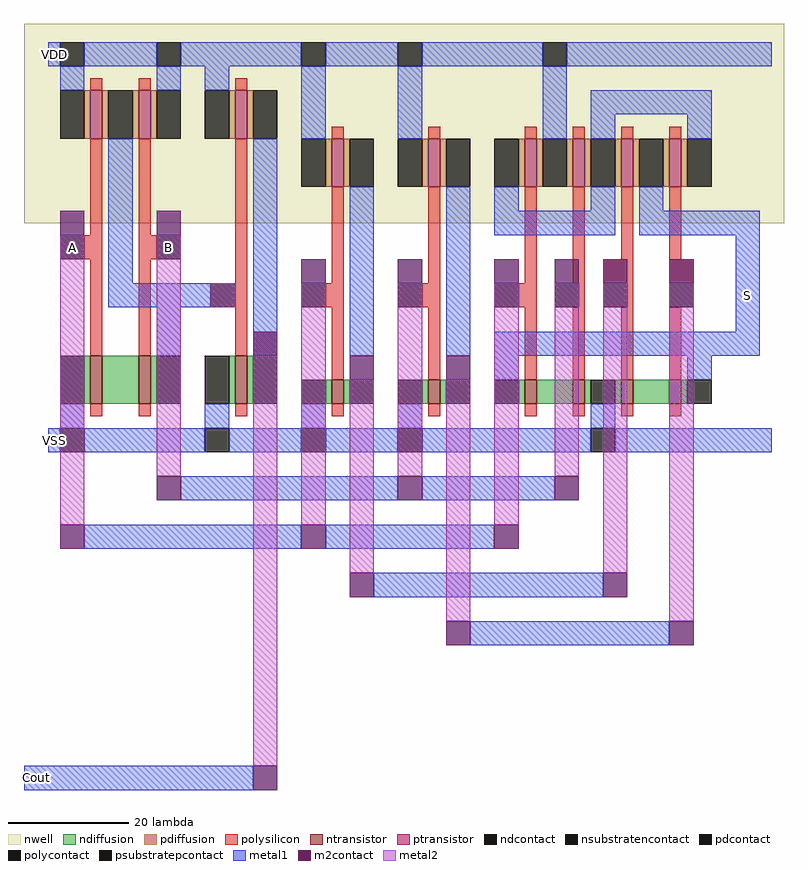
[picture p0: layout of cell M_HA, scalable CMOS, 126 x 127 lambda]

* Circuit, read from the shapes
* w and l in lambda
.subckt M_HA A B Cout S VDD VSS
M1 n1 A VSS VSS nfet w=8 l=2
M2 n2 B n1 VSS nfet w=8 l=2
M3 Cout n2 VSS VSS nfet w=8 l=2
M4 n3 A VSS VSS nfet w=4 l=2
M5 n4 B VSS VSS nfet w=4 l=2
M6 n5 A S VSS nfet w=4 l=2
M7 VSS B n5 VSS nfet w=4 l=2
M8 n6 n3 VSS VSS nfet w=4 l=2
M9 S n4 n6 VSS nfet w=4 l=2
M10 n2 A VDD VDD pfet w=8 l=2
M11 VDD B n2 VDD pfet w=8 l=2
M12 Cout n2 VDD VDD pfet w=8 l=2
M13 n3 A VDD VDD pfet w=8 l=2
M14 n4 B VDD VDD pfet w=8 l=2
M15 VDD A n7 VDD pfet w=8 l=2
M16 n7 B VDD VDD pfet w=8 l=2
M17 S n3 n7 VDD pfet w=8 l=2
M18 n7 n4 S VDD pfet w=8 l=2
.ends

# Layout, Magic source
magic
tech scmos
<< polycontact >>
rect 2 32 6 36
rect 18 32 22 36
<< metal1 >>
rect 0 64 2 68
rect 114 24 118 28
rect 0 0 2 4
rect -4 -56 34 -52
<< m2contact >>
rect 34 16 38 20
rect 34 -56 38 -52
<< metal2 >>
rect 2 32 6 36
rect 18 32 22 36
rect 34 -52 38 16
use HA  HA_0
transform 1 0 0 0 1 0
box -4 -32 122 71
<< labels >>
rlabel metal2 4 34 4 34 1 A
rlabel metal2 20 34 20 34 1 B
rlabel metal1 1 66 1 66 4 VDD
rlabel metal1 1 2 1 2 3 VSS
rlabel metal1 -2 -54 -2 -54 1 Cout
rlabel metal1 116 26 116 26 1 S
<< end >>

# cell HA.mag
magic
tech scmos
<< nwell >>
rect -4 38 36 71
<< ntransistor >>
rect 7 8 9 16
rect 15 8 17 16
rect 31 8 33 16
<< ptransistor >>
rect 7 52 9 60
rect 15 52 17 60
rect 31 52 33 60
<< ndiffusion >>
rect 6 8 7 16
rect 9 8 15 16
rect 17 8 18 16
rect 30 8 31 16
rect 33 8 34 16
<< pdiffusion >>
rect 6 52 7 60
rect 9 52 10 60
rect 14 52 15 60
rect 17 52 18 60
rect 30 52 31 60
rect 33 52 34 60
<< ndcontact >>
rect 2 8 6 16
rect 18 8 22 16
rect 26 8 30 16
rect 34 8 38 16
<< pdcontact >>
rect 2 52 6 60
rect 10 52 14 60
rect 18 52 22 60
rect 26 52 30 60
rect 34 52 38 60
<< psubstratepcontact >>
rect 2 0 6 4
rect 26 0 30 4
<< nsubstratencontact >>
rect 2 64 6 68
rect 18 64 22 68
<< polysilicon >>
rect 7 60 9 62
rect 15 60 17 62
rect 31 60 33 62
rect 7 36 9 52
rect 6 32 9 36
rect 7 16 9 32
rect 15 36 17 52
rect 15 32 18 36
rect 15 16 17 32
rect 31 16 33 52
rect 7 6 9 8
rect 15 6 17 8
rect 31 6 33 8
<< polycontact >>
rect 2 32 6 36
rect 18 32 22 36
rect 27 24 31 28
<< metal1 >>
rect 0 64 2 68
rect 6 64 18 68
rect 22 64 42 68
rect 2 60 6 64
rect 18 60 22 64
rect 26 60 30 64
rect 10 28 14 52
rect 10 24 27 28
rect 18 16 22 24
rect 34 16 38 52
rect 114 24 118 28
rect 2 4 6 8
rect 26 4 30 8
rect 0 0 2 4
rect 6 0 26 4
rect 30 0 41 4
rect 22 -8 58 -4
rect 6 -16 42 -12
<< m2contact >>
rect 2 36 6 40
rect 18 36 22 40
rect 18 -8 22 -4
rect 2 -16 6 -12
<< metal2 >>
rect 2 -12 6 36
rect 18 -4 22 36
rect 27 24 31 28
use XOR2  XOR2_0
transform 1 0 72 0 1 0
box -36 -32 50 71
<< labels >>
rlabel nsubstratencontact 4 66 4 66 1 VDD
rlabel nsubstratencontact 20 66 20 66 1 VDD
rlabel psubstratepcontact 4 2 4 2 1 VSS
rlabel psubstratepcontact 28 2 28 2 1 VSS
rlabel polycontact 20 34 20 34 1 B
rlabel polycontact 4 34 4 34 1 A
rlabel metal1 36 26 36 26 1 Co
rlabel metal1 116 26 116 26 1 S
<< end >>

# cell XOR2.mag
magic
tech scmos
<< nwell >>
rect -36 38 50 71
<< ntransistor >>
rect -25 8 -23 12
rect -9 8 -7 12
rect 7 8 9 12
rect 15 8 17 12
rect 23 8 25 12
rect 31 8 33 12
<< ptransistor >>
rect -25 44 -23 52
rect -9 44 -7 52
rect 7 44 9 52
rect 15 44 17 52
rect 23 44 25 52
rect 31 44 33 52
<< ndiffusion >>
rect -26 8 -25 12
rect -23 8 -22 12
rect -10 8 -9 12
rect -7 8 -6 12
rect 6 8 7 12
rect 9 8 15 12
rect 17 8 18 12
rect 22 8 23 12
rect 25 8 31 12
rect 33 8 34 12
<< pdiffusion >>
rect -26 44 -25 52
rect -23 44 -22 52
rect -10 44 -9 52
rect -7 44 -6 52
rect 6 44 7 52
rect 9 44 10 52
rect 14 44 15 52
rect 17 44 18 52
rect 22 44 23 52
rect 25 44 26 52
rect 30 44 31 52
rect 33 44 34 52
<< ndcontact >>
rect -30 8 -26 12
rect -22 8 -18 12
rect -14 8 -10 12
rect -6 8 -2 12
rect 2 8 6 12
rect 18 8 22 12
rect 34 8 38 12
<< pdcontact >>
rect -30 44 -26 52
rect -22 44 -18 52
rect -14 44 -10 52
rect -6 44 -2 52
rect 2 44 6 52
rect 10 44 14 52
rect 18 44 22 52
rect 26 44 30 52
rect 34 44 38 52
<< psubstratepcontact >>
rect -30 0 -26 4
rect -14 0 -10 4
rect 18 0 22 4
<< nsubstratencontact >>
rect -30 64 -26 68
rect -14 64 -10 68
rect 10 64 14 68
<< polysilicon >>
rect -25 52 -23 54
rect -9 52 -7 54
rect 7 52 9 54
rect 15 52 17 54
rect 23 52 25 54
rect 31 52 33 54
rect -25 28 -23 44
rect -9 28 -7 44
rect 7 28 9 44
rect 15 28 17 44
rect 23 32 25 44
rect -26 24 -23 28
rect -10 24 -7 28
rect 6 24 9 28
rect 16 24 17 28
rect 20 28 25 32
rect 24 24 25 28
rect -25 12 -23 24
rect -9 12 -7 24
rect 7 12 9 24
rect 15 12 17 24
rect 23 12 25 24
rect 31 32 33 44
rect 31 28 35 32
rect 31 12 33 24
rect -25 6 -23 8
rect -9 6 -7 8
rect 7 6 9 8
rect 15 6 17 8
rect 23 6 25 8
rect 31 6 33 8
<< polycontact >>
rect -30 24 -26 28
rect -14 24 -10 28
rect 2 24 6 28
rect 12 24 16 28
rect 20 24 24 28
rect 31 24 35 28
<< metal1 >>
rect -32 64 -30 68
rect -26 64 -14 68
rect -10 64 10 68
rect 14 64 48 68
rect -30 52 -26 64
rect -14 52 -10 64
rect 10 52 14 64
rect -22 16 -18 44
rect -6 16 -2 44
rect 18 56 38 60
rect 18 52 22 56
rect 34 52 38 56
rect 2 40 6 44
rect 18 40 22 44
rect 2 36 22 40
rect 26 40 30 44
rect 26 36 46 40
rect 42 20 46 36
rect 2 16 46 20
rect 2 12 6 16
rect 34 12 38 16
rect -30 4 -26 8
rect -14 4 -10 8
rect 18 4 22 8
rect -32 0 -30 4
rect -26 0 -14 4
rect -10 0 18 4
rect 22 0 48 4
rect -10 -8 12 -4
rect -26 -16 2 -12
rect -18 -24 20 -20
rect -2 -32 31 -28
<< m2contact >>
rect -30 28 -26 32
rect -14 28 -10 32
rect -22 12 -18 16
rect 2 28 6 32
rect 12 28 16 32
rect 20 28 24 32
rect 31 28 35 32
rect -6 12 -2 16
rect -14 -8 -10 -4
rect 12 -8 16 -4
rect -30 -16 -26 -12
rect 2 -16 6 -12
rect -22 -24 -18 -20
rect 20 -24 24 -20
rect -6 -32 -2 -28
rect 31 -32 35 -28
<< metal2 >>
rect -30 -12 -26 28
rect -22 -20 -18 12
rect -14 -4 -10 28
rect -6 -28 -2 12
rect 2 -12 6 28
rect 12 -4 16 28
rect 20 -20 24 28
rect 31 -28 35 28
<< labels >>
rlabel psubstratepcontact 20 2 20 2 1 VSS
rlabel psubstratepcontact -12 2 -12 2 1 VSS
rlabel psubstratepcontact -28 2 -28 2 1 VSS
rlabel metal1 44 26 44 26 1 Y
rlabel nsubstratencontact 12 66 12 66 1 VDD
rlabel nsubstratencontact -28 66 -28 66 1 VDD
rlabel nsubstratencontact -12 66 -12 66 1 VDD
rlabel polycontact -12 26 -12 26 1 B
rlabel polycontact -28 26 -28 26 1 A
<< end >>
